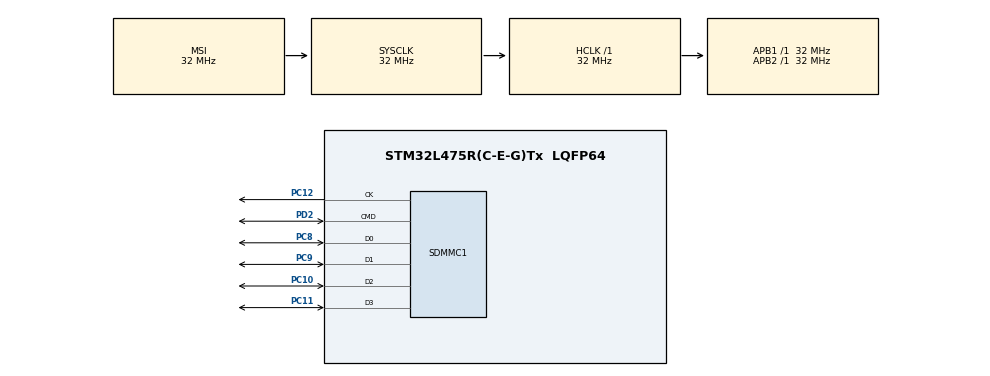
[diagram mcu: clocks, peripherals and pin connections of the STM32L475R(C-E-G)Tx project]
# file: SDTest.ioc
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FATFS._MAX_SS=4096
Mcu.Family=STM32L4
Mcu.Name=STM32L475R(C-E-G)Tx
Mcu.Package=LQFP64
NVIC.PriorityGroup=NVIC_PRIORITYGROUP_4
NVIC.SDMMC1_IRQn=true\:0\:0\:false\:false\:true\:true
PC10.GPIO_PuPd=GPIO_NOPULL
PC10.Mode=SD_4_bits_Wide_bus
PC10.Signal=SDMMC1_D2
PC11.GPIO_PuPd=GPIO_NOPULL
PC11.Mode=SD_4_bits_Wide_bus
PC11.Signal=SDMMC1_D3
PC12.Mode=SD_4_bits_Wide_bus
PC12.Signal=SDMMC1_CK
PC8.GPIO_PuPd=GPIO_NOPULL
PC8.Mode=SD_4_bits_Wide_bus
PC8.Signal=SDMMC1_D0
PC9.GPIO_PuPd=GPIO_NOPULL
PC9.Mode=SD_4_bits_Wide_bus
PC9.Signal=SDMMC1_D1
PD2.GPIO_PuPd=GPIO_NOPULL
PD2.Mode=SD_4_bits_Wide_bus
PD2.Signal=SDMMC1_CMD
ProjectManager.HeapSize=0x200
ProjectManager.StackSize=0x400
ProjectManager.TargetToolchain=TrueSTUDIO
RCC.ADCFreq_Value=128000000
RCC.AHBFreq_Value=32000000
RCC.APB1Freq_Value=32000000
RCC.APB1TimFreq_Value=32000000
RCC.APB2Freq_Value=32000000
RCC.APB2TimFreq_Value=32000000
RCC.CK48CLockSelection=RCC_USBCLKSOURCE_MSI
RCC.CortexFreq_Value=32000000
RCC.HCLKFreq_Value=32000000
RCC.HSE_VALUE=8000000
RCC.HSI_VALUE=16000000
RCC.LSE_VALUE=32768
RCC.MSIClockRange=RCC_MSIRANGE_10
RCC.MSI_VALUE=32000000
RCC.SYSCLKFreq_VALUE=32000000
RCC.USBFreq_Value=32000000
RCC.VCOOutputFreq_Value=256000000
VP_FATFS_VS_SDIO.Mode=SDIO
board=custom

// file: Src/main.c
/**
  ******************************************************************************
  * @file           : main.c
  * @brief          : Main program body
  ******************************************************************************
  * This notice applies to any and all portions of this file
  * that are not between comment pairs USER CODE BEGIN and
  * USER CODE END. Other portions of this file, whether
  * inserted by the user or by software development tools
  * are owned by their respective copyright owners.
  *
  * Copyright (c) 2019 STMicroelectronics International N.V.
  * All rights reserved.
  *
  * Redistribution and use in source and binary forms, with or without
  * modification, are permitted, provided that the following conditions are met:
  *
  * 1. Redistribution of source code must retain the above copyright notice,
  *    this list of conditions and the following disclaimer.
  * 2. Redistributions in binary form must reproduce the above copyright notice,
  *    this list of conditions and the following disclaimer in the documentation
  *    and/or other materials provided with the distribution.
  * 3. Neither the name of STMicroelectronics nor the names of other
  *    contributors to this software may be used to endorse or promote products
  *    derived from this software without specific written permission.
  * 4. This software, including modifications and/or derivative works of this
  *    software, must execute solely and exclusively on microcontroller or
  *    microprocessor devices manufactured by or for STMicroelectronics.
  * 5. Redistribution and use of this software other than as permitted under
  *    this license is void and will automatically terminate your rights under
  *    this license.
  *
  * THIS SOFTWARE IS PROVIDED BY STMICROELECTRONICS AND CONTRIBUTORS "AS IS"
  * AND ANY EXPRESS, IMPLIED OR STATUTORY WARRANTIES, INCLUDING, BUT NOT
  * LIMITED TO, THE IMPLIED WARRANTIES OF MERCHANTABILITY, FITNESS FOR A
  * PARTICULAR PURPOSE AND NON-INFRINGEMENT OF THIRD PARTY INTELLECTUAL PROPERTY
  * RIGHTS ARE DISCLAIMED TO THE FULLEST EXTENT PERMITTED BY LAW. IN NO EVENT
  * SHALL STMICROELECTRONICS OR CONTRIBUTORS BE LIABLE FOR ANY DIRECT, INDIRECT,
  * INCIDENTAL, SPECIAL, EXEMPLARY, OR CONSEQUENTIAL DAMAGES (INCLUDING, BUT NOT
  * LIMITED TO, PROCUREMENT OF SUBSTITUTE GOODS OR SERVICES; LOSS OF USE, DATA,
  * OR PROFITS; OR BUSINESS INTERRUPTION) HOWEVER CAUSED AND ON ANY THEORY OF
  * LIABILITY, WHETHER IN CONTRACT, STRICT LIABILITY, OR TORT (INCLUDING
  * NEGLIGENCE OR OTHERWISE) ARISING IN ANY WAY OUT OF THE USE OF THIS SOFTWARE,
  * EVEN IF ADVISED OF THE POSSIBILITY OF SUCH DAMAGE.
  *
  ******************************************************************************
  */
#include "main.h"
#include "stm32l4xx_hal.h"
#include "fatfs.h"

/* USER CODE BEGIN Includes */
//#include "GL.h"

FATFS fileSystem;
FIL texFile;
uint8_t readByte;
volatile uint32_t img;
/* USER CODE END Includes */

SD_HandleTypeDef hsd1;

/* USER CODE BEGIN PV */
/* Private variables ---------------------------------------------------------*/

/* USER CODE END PV */

void SystemClock_Config(void);
static void MX_GPIO_Init(void);
static void MX_SDMMC1_SD_Init(void);

/* USER CODE BEGIN PFP */
/* Private function prototypes -----------------------------------------------*/

/* USER CODE END PFP */

/* USER CODE BEGIN 0 */
volatile uint8_t InfoImg[1024];
int errs[] = {0, 0, 0, 0, 0, 0, 0, 0, 0, 0};
/* USER CODE END 0 */

int main(void)
{

  /* MCU Configuration----------------------------------------------------------*/

  /* Reset of all peripherals, Initializes the Flash interface and the Systick. */
  HAL_Init();

  /* Configure the system clock */
  SystemClock_Config();

  /* Initialize all configured peripherals */
  MX_GPIO_Init();
  MX_SDMMC1_SD_Init();
  MX_FATFS_Init();
  /* USER CODE BEGIN 2 */

  BSP_SD_Init();
  HAL_Delay(200);
  MX_FATFS_Init();

  if(f_mount(&fileSystem, SDPath, 1) == FR_OK)
  {
	  uint8_t FileName[64] = "test.xml";
	  volatile uint8_t res;
	  res = f_open(&texFile, (char *)FileName, FA_READ);
	/*Read 1 byte - color type, 2 byte - width, 2 byte - height*/

	res = f_read(&texFile, InfoImg, 8, &readByte );
	/*res = f_read(&texFile, (uint32_t)&imgW, 2, &readByte );
	res = f_read(&texFile, (uint32_t)&imgH, 2, &readByte );*/

//	/********
//	 * СОЗДАТЬ СЛОЙ
//	 * ******/
//	uint32_t Layer1 = CreateLayer("one", 1);
//	/***************
//	 * Создать контрол
//	 */
//	Texture texs[3];
//	  texs[0] = (Texture){ "0:output.tte", StateNormal };
//
//	  img = CreateElement(Layer1, 0, 0, 10, 10, GL_QUAD,
//	  		  0x00000000, 0, 255, 0, "back2",
//	  		  StateNormal, (Texture *)&texs, 0);

	res = f_close(&texFile);
  }

  /* USER CODE END 2 */

  /* Infinite loop */
  while (1)
  {

  }

}

void SystemClock_Config(void)
{

  RCC_OscInitTypeDef RCC_OscInitStruct;
  RCC_ClkInitTypeDef RCC_ClkInitStruct;
  RCC_PeriphCLKInitTypeDef PeriphClkInit;

    /**Initializes the CPU, AHB and APB busses clocks
    */
  RCC_OscInitStruct.OscillatorType = RCC_OSCILLATORTYPE_MSI;
  RCC_OscInitStruct.MSIState = RCC_MSI_ON;
  RCC_OscInitStruct.MSICalibrationValue = 0;
  RCC_OscInitStruct.MSIClockRange = RCC_MSIRANGE_10;
  RCC_OscInitStruct.PLL.PLLState = RCC_PLL_NONE;
  if (HAL_RCC_OscConfig(&RCC_OscInitStruct) != HAL_OK)
  {
    _Error_Handler(__FILE__, __LINE__);
  }

    /**Initializes the CPU, AHB and APB busses clocks
    */
  RCC_ClkInitStruct.ClockType = RCC_CLOCKTYPE_HCLK|RCC_CLOCKTYPE_SYSCLK
                              |RCC_CLOCKTYPE_PCLK1|RCC_CLOCKTYPE_PCLK2;
  RCC_ClkInitStruct.SYSCLKSource = RCC_SYSCLKSOURCE_MSI;
  RCC_ClkInitStruct.AHBCLKDivider = RCC_SYSCLK_DIV1;
  RCC_ClkInitStruct.APB1CLKDivider = RCC_HCLK_DIV1;
  RCC_ClkInitStruct.APB2CLKDivider = RCC_HCLK_DIV1;

  if (HAL_RCC_ClockConfig(&RCC_ClkInitStruct, FLASH_LATENCY_1) != HAL_OK)
  {
    _Error_Handler(__FILE__, __LINE__);
  }

  PeriphClkInit.PeriphClockSelection = RCC_PERIPHCLK_SDMMC1;
  PeriphClkInit.Sdmmc1ClockSelection = RCC_SDMMC1CLKSOURCE_MSI;
  if (HAL_RCCEx_PeriphCLKConfig(&PeriphClkInit) != HAL_OK)
  {
    _Error_Handler(__FILE__, __LINE__);
  }

    /**Configure the main internal regulator output voltage
    */
  if (HAL_PWREx_ControlVoltageScaling(PWR_REGULATOR_VOLTAGE_SCALE1) != HAL_OK)
  {
    _Error_Handler(__FILE__, __LINE__);
  }

    /**Configure the Systick interrupt time
    */
  HAL_SYSTICK_Config(HAL_RCC_GetHCLKFreq()/1000);

    /**Configure the Systick
    */
  HAL_SYSTICK_CLKSourceConfig(SYSTICK_CLKSOURCE_HCLK);

  /* SysTick_IRQn interrupt configuration */
  HAL_NVIC_SetPriority(SysTick_IRQn, 0, 0);
}

/* SDMMC1 init function */
static void MX_SDMMC1_SD_Init(void)
{

  hsd1.Instance = SDMMC1;
  hsd1.Init.ClockEdge = SDMMC_CLOCK_EDGE_RISING;
  hsd1.Init.ClockBypass = SDMMC_CLOCK_BYPASS_DISABLE;
  hsd1.Init.ClockPowerSave = SDMMC_CLOCK_POWER_SAVE_DISABLE;
  hsd1.Init.BusWide = SDMMC_BUS_WIDE_1B;
  hsd1.Init.HardwareFlowControl = SDMMC_HARDWARE_FLOW_CONTROL_DISABLE;
  hsd1.Init.ClockDiv = 0;

}

/** Pinout Configuration
*/
static void MX_GPIO_Init(void)
{

  /* GPIO Ports Clock Enable */
  __HAL_RCC_GPIOC_CLK_ENABLE();
  __HAL_RCC_GPIOD_CLK_ENABLE();

}

void _Error_Handler(char *file, int line)
{
  while(1)
  {
  }
}

/************************ (C) COPYRIGHT STMicroelectronics *****END OF FILE****/
